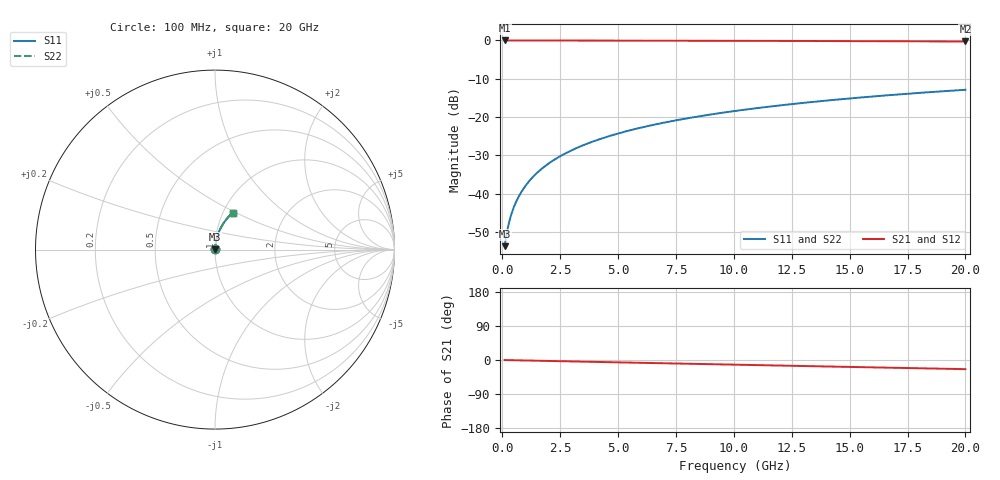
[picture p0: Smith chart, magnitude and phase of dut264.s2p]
! Touchstone file exported from HFSS 2026.1.0
!  File:  C:/ffzhzh/LocalFiles/Ansys_Project_Files/temp_train_TMRDL_264_1782985062_41620.aedt
!  Generated:  05:39:01 PM Jul  2, 2026
!  Design:  TMRDL
!  Project:  temp_train_TMRDL_264_1782985062_41620
! Variables:
!  h_bsmrdl = 2um
!  h_ox = 20um
!  h_rdl = 5um
!  h_sub = 80um
!  h_tmrdl = 3.04um
!  h_tsv = 80um
!  h_via = 3um
!  l_bsmrdl = 300um
!  l_sub = 716.16um
!  l_tmrdl = 316.16um
!  m_sub = 200um
!  pitch = 56.59um
!  r_tsv = 6um
!  s_tmrdl = 10um
!  w_bsmrdl = 18um
!  w_sub = 500um
!  w_tmrdl = 29.62um
!  x_tsv_center1 = 330.97um
!  x_tsv_center2 = 648.97um
!  x_tsv_center3 = 994.75um
!  x_tsv_center4 = 1312.75um
!  x_tsv_center5 = 1658.53um
!  x_tsv_center6 = 1976.53um
# GHz S MA R 50.000000
! Terminal data exported
! Port[1] = TM_RDL1_1_T1
! Port[2] = TM_RDL1_1_T2
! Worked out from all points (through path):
!   200 points, 100 MHz to 20 GHz, reference 50 ohm
!   highest |S21| = -0.01 dB at 100 MHz (marker M1); lowest = -0.3 dB at 20 GHz (marker M2)
!   group delay of S21, straight-line fit = 3.35 ps
!   lowest |S11| = -53.7 dB at 100 MHz (marker M3), VSWR 1.00, Z = 50.2 + j0.137 ohm
!   |S11| at or under -10 dB: start of sweep to end of sweep
!   |S22| runs from -53.7 to -12.9 dB; largest |S21 - S12| = 2.7e-15
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0.1  0.002063 41.4  0.9985 -0.1  0.9985 -0.1  0.002063 41.4
! Gamma 0 0 0 0
! Port Impedance 50 0 50 0
0.2  0.003146 58.5  0.9984 -0.3  0.9984 -0.3  0.003146 58.5
0.3  0.004321 66.0  0.9983 -0.4  0.9983 -0.4  0.00432 66.0
0.4  0.005502 70.3  0.9982 -0.5  0.9982 -0.5  0.005502 70.3
0.5  0.006682 73.1  0.9981 -0.6  0.9981 -0.6  0.006682 73.1
0.6  0.007863 75.1  0.998 -0.8  0.998 -0.8  0.007863 75.1
0.8  0.01024 77.8  0.998 -1.0  0.998 -1.0  0.01024 77.8
1.1  0.01383 80.1  0.9979 -1.4  0.9979 -1.4  0.01383 80.1
1.3  0.01624 81.0  0.9978 -1.6  0.9978 -1.6  0.01624 81.0
1.6  0.01987 81.8  0.9977 -2.0  0.9977 -2.0  0.01987 81.8
2.1  0.02594 82.5  0.9975 -2.6  0.9975 -2.6  0.02594 82.5
2.7  0.03322 82.6  0.9971 -3.4  0.9971 -3.4  0.03322 82.6
3.5  0.04291 82.3  0.9966 -4.4  0.9966 -4.4  0.04291 82.3
4.2  0.05135 81.8  0.9961 -5.2  0.9961 -5.2  0.05135 81.8
5  0.06095 81.1  0.9953 -6.2  0.9953 -6.2  0.06095 81.1
5.9  0.07167 80.2  0.9944 -7.3  0.9944 -7.3  0.07167 80.2
6.8  0.08231 79.3  0.9933 -8.4  0.9933 -8.4  0.08231 79.3
8.3  0.09983 77.6  0.9913 -10.3  0.9913 -10.3  0.09983 77.6
10.1  0.1205 75.6  0.9885 -12.4  0.9885 -12.4  0.1205 75.6
13.4  0.1574 71.8  0.9826 -16.4  0.9826 -16.4  0.1574 71.8
16.7  0.1929 68.0  0.9757 -20.3  0.9757 -20.3  0.1929 68.1
20  0.2268 64.3  0.9679 -24.1  0.9679 -24.1  0.2268 64.4
